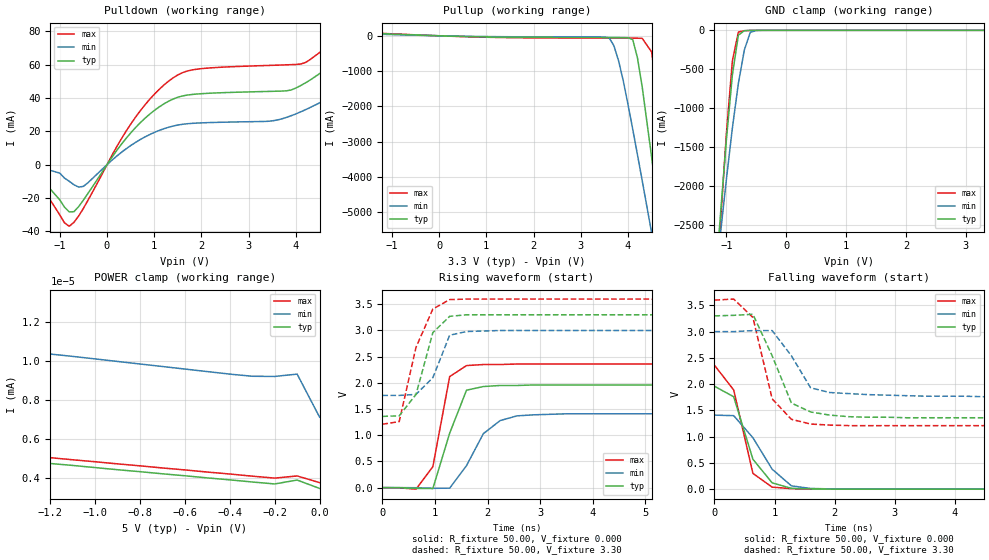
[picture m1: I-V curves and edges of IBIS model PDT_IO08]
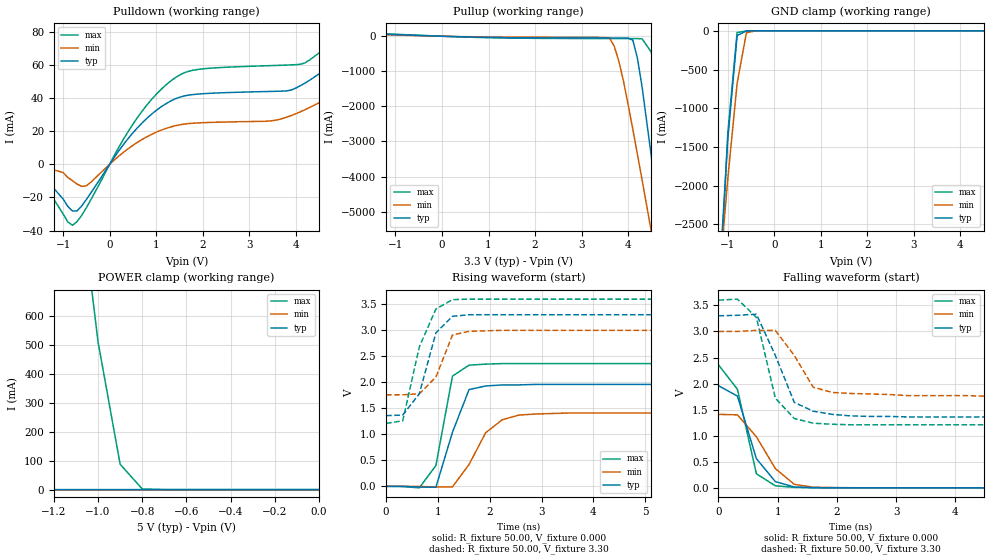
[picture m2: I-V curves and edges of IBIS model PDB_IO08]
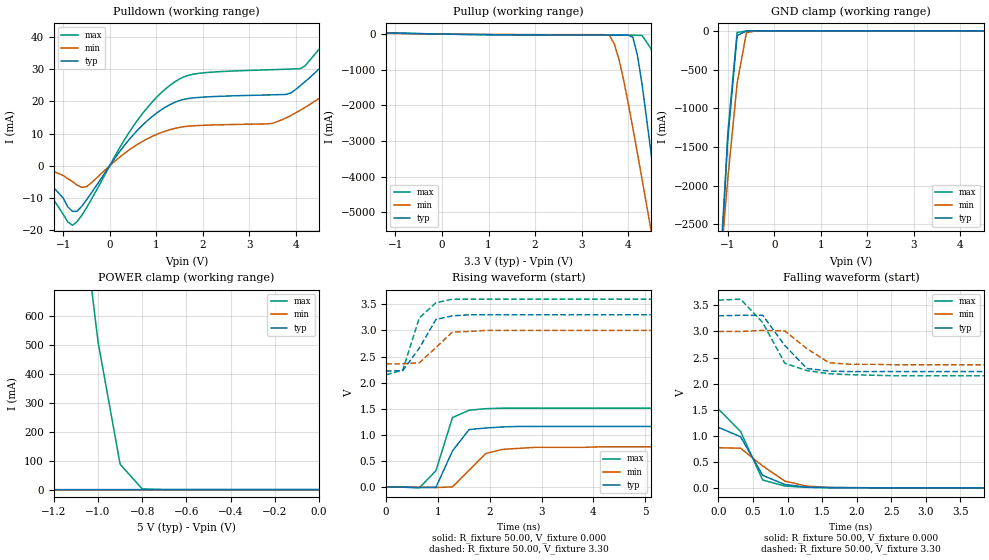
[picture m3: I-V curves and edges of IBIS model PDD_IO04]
|   PERICOM SEMICONDUCTOR CORP
|   IBIS Model of PI7C9X2G304SL
|   128-PIN LQFP Package
| Note: The PCIE Data Output Model is not available for simulation.
[IBIS ver] 3.2
[File name] pi7c9x2g304sl.ibs
[File Rev] 1.0
[Source] File originated at Pericom Semiconductor Corp.
[Date] 12/12/2013
[Disclaimer] (C) Copyright PERICOM Semiconductor Corporation
             All rights reserved
  Pericom Semiconductor Corporation hereby grants the user of
  this IBIS model a non-exclusive, nontransferable license
  use this IBIS model under the following terms.
  This IBIS model is provided on an "AS IS" basis and Pericom
  makes absolutely no warranty with respect to the information
  contained herein. PERICOM DISCLAIMS AND CUSTOMER WAIVES ALL
  WARRANTIES, EXPRESSED OR IMPLIED, INCLUDING WARRANTIES OF
  MERCHANTABILITY OR FITNESS FOR A PARTICULAR PURPOSE. The
  entire risk as to quality and performance is with the customer.
  Accordingly, in no event shall the company be liable for any
  damages, whether in contract or tort, including any lost
  profits or other incidental, consequential, exemplary, or
  punitive damages arising out of the use or application of the
  IBIS model provided in this package. Further, Pericom reserves
  the right to make changes without notice to any product herein
  to improve reliability, function, or design. Pericom does not
  convey any license under patent rights or any other intellectual
  property rights, including those of third parties.
  The user is granted this license only to use the IBIS model
  and is not granted rights to sell, load, rent, lease or license
  the IBIS model in whole or in part, or in modified form to anyone
  other than user. User may modify the IBIS model to suit its specific
  application but rights to derivative works and such modifications
  shall belong to Pericom.
  Pericom is not obligated to provide maintenance or support
  for the licensed IBIS model.
  Contact Pericom at ATTN: APPLICATIONS ENGINEERING / IBIS MODELS
  1545 Barber Lane, Milpitas, CA  95035
|   Component pi7c9x2g304sl
[Component] pi7c9x2g304sl
[Manufacturer] Pericom Semiconductor Corp.
[Package]
| variable   typ   min   max
R_pkg   0.2300   0.2100   0.2500
L_pkg   5.9200nH   4.9000nH   7.1000nH
C_pkg   2.4500pF   2.1000pF   2.9000pF
[Pin]  signal_name   model_name   R_pin   L_pin   C_pin
1   VDDR   POWER
2   VSS   GND
3   VDDC   POWER
4   VSS   GND
5   DWNRST_L[1]   PDU_IO04
6   DWNRST_L[2]   PDU_IO04
8   VDDR   POWER
9   TEST1   PDU_IO
10   PERST_L   PDI_IO
11   VSS   GND
12   VSS   GND
13   VDDCAUX   POWER
14   VDDCAUX   POWER
15   VAUX   POWER
16   TEST2   PDU_IO
17   TEST3   PDD_IO04
18   VC1_EN   PDD_IO04
19   PRSNT[1]   PDD_IO04
20   PRSNT[2]   PDD_IO04
22   TEST4   PDD_IO04
23   VDDC   POWER
24   RXPOLINV_DIS   PDD_IO04
25   TEST5   PDD_IO04
26   SMBCLK   PDU_IO04
27   SMBDATA   PDU_IO04
28   PWR_SAV   PDD_IO04
29   VDDC   POWER
30   VSS   GND
31   VDDC   POWER
32   VSS   GND
33   SLOTCLK   PDD_IO04
34   VSS   GND
35   GPIO[1]   PDB_IO08
36   GPIO[0]   PDB_IO08
37   GPIO[2]   PDB_IO08
38   GPIO[3]   PDB_IO08
39   GPIO[4]   PDB_IO08
40   VDDC   POWER
41   VSS   GND
42   GPIO[5]   PDB_IO08
43   GPIO[6]   PDB_IO08
44   GPIO[7]   PDB_IO08
45   SLOT_IMP[1]   PDD_IO04
46   SLOT_IMP[2]   PDD_IO04
49   VDDR   POWER
50   VSS   GND
51   TEST6   PDD_IO04
53   PL_512B   PDD_IO04
55   VDDC   POWER
56   VSS   GND
60   CLKBUF_PD   PDD_IO04
61   VSS   GND
62   VDDC   POWER
63   VSS   GND
64   VDDR   POWER
65   VDDC   POWER
66   VSS   GND
70   EECLK   PDT_IO08
71   EEPD   PDU_IO08
72   SCAN_EN   PDB_IO08
79   CVDDR   POWER
82   CVDDR   POWER
84   CVDDR   POWER
87   VSS   GND
88   TDO   PDT_IO08
89   TCK   PDI_IO
90   VSS   GND
91   VDDC   POWER
92   TMS   PDU_IO
93   TDI   PDU_IO
94   TRST_L   PDU_IO
95   VSS   GND
96   VDDR   POWER
99   AVDD   POWER
104   VSS   GND
105   AVDD   POWER
108   AVDD   POWER
109   VSS   GND
112   VSS   GND
113   AVDDH   POWER
119   AVDD   POWER
120   VSS   GND
125   AVDD   POWER
126   VSS   GND
| Models and submodels in the file (7): PDT_IO08 (3-state), PDB_IO08 (I/O), PDD_IO04 (I/O), PDU_IO04 (I/O), PDU_IO08 (I/O), PDI_IO (Input), PDU_IO (Input)
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|   Model PDT_IO08
[Model]   PDT_IO08
Model_type   3-state
Polarity   Non-Inverting
Enable   Active-Low
Vmeas =   1.65V
Cref =  50.00pF
Rref =   1.00M
Vref =  0.000V
C_comp   1.79pF   1.61pF   1.97pF
[Temperature Range]   25.00   0.12k   0.000
[Pullup Reference]   3.30V   3.00V   3.60V
[Pulldown Reference]   0.000V   0.000V   0.000V
[POWER Clamp Reference]   5.00V   4.50V   5.50V
[GND Clamp Reference]   0.000V   0.000V   0.000V
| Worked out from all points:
|   slope of the pulldown table from 0 to 0.495 V, typ, clamps not added: 26.3 ohm
|   slope of the pullup table from 0 to 0.495 V, typ, clamps not added: 26 ohm
|   GND clamp passes 1 mA (typ) near -0.60 V on its own axis
|   POWER clamp passes 1 mA (typ) near -3.01 V on its own axis
|   rising waveform, R_fixture 50.00, V_fixture 0.000: 20-80 % time 402ps typ, 548ps min, 263ps max; typ from 0 V to 1.96 V
|   rising waveform, R_fixture 50.00, V_fixture 3.30: 20-80 % time 332ps typ, 350ps min, 417ps max; typ from 1.36 V to 3.3 V
|   falling waveform, R_fixture 50.00, V_fixture 0.000: 20-80 % time 395ps typ, 532ps min, 285ps max; typ from 1.96 V to 0 V
|   falling waveform, R_fixture 50.00, V_fixture 3.30: 20-80 % time 432ps typ, 420ps min, 316ps max; typ from 3.3 V to 1.36 V
[Pulldown]
| voltage   I(typ)   I(min)   I(max)
-3.3V     0A         0A         0A
-1.7V     -2mA       -1mA       0A
-800mV    -28.27mA   -9.9mA     -36.86mA
-500mV    -21.24mA   -12.99mA   -26.21mA
600mV     22.1mA     13.29mA    28.31mA
1.5V      40.44mA    23.78mA    53.81mA
3.9V      44.8mA     29.37mA    59.97mA
4.3V      50.75mA    34.28mA    63mA
5.1V      68.29mA    46.18mA    82.64mA
5.7V      83.98mA    54.63mA    100mA
5.9V      89.44mA    33.98mA    110mA
6.6V      620mA      39.63mA    1.27A
[Pullup]
| voltage   I(typ)   I(min)   I(max)
-3.3V     140mA      75.04mA    160mA
3.6V      -50.2mA    -57.16mA   -66.25mA
3.7V      -50.36mA   -280mA     -66.45mA
3.8V      -50.59mA   -710mA     -66.64mA
4.1V      -110mA     -2.65A     -67.39mA
4.2V      -630mA     -3.37A     -68.89mA
4.3V      -1.45A     -4.1A      -72.53mA
4.5V      -3.44A     -5.58A     -460mA
4.7V      -5.53A     -7.07A     -2.55A
4.9V      -7.65A     -8.57A     -5.07A
5.1V      -9.78A     -10.07A    -7.65A
6.6V      -25.9A     -21.41A    -27.37A
[GND_clamp]
| voltage   I(typ)   I(min)   I(max)
-3.3V     -25.84A    -19.1A     -31.26A
-1.2V     -3.38A     -3.33A     -3.73A
-1.1V     -2.37A     -2.61A     -2.48A
-1V       -1.4A      -1.91A     -1.32A
-900mV    -570mA     -1.25A     -390mA
-800mV    -61.5mA    -680mA     -21.81mA
-700mV    -4.92mA    -250mA     -5mA
-600mV    -860uA     -24.57mA   -1.54mA
-500mV    -98.1uA    -2.38mA    -220uA
3.3V      3.47nA     9.23nA     3.45nA
[POWER_clamp]
| voltage   I(typ)   I(min)   I(max)
-3.3V     510mA      330nA      3.28A
-3.1V     7.68mA     14.23nA    1.82A
-2.8V     95.66nA    12.61nA    87.31mA
-2.7V     8.35nA     12.44nA    2.31mA
-2.6V     6.31nA     12.28nA    36.57uA
-2.4V     6.03nA     11.98nA    14.99nA
-2.3V     5.92nA     11.83nA    6.35nA
-2.2V     5.81nA     11.69nA    6.11nA
-400mV    3.91nA     9.34nA     4.21nA
-200mV    3.7nA      9.22nA     4nA
-100mV    3.9nA      9.34nA     4.11nA
0V        3.47nA     7.13nA     3.77nA
[Ramp]
| variable   typ   min   max
dV/dt_r   1.18/0.29n   0.85/0.45n   1.42/0.24n
dV/dt_f   1.17/0.30n   0.74/0.38n   1.44/0.28n
R_load = 50.00
[Rising Waveform]
R_fixture = 50.00
V_fixture = 0.000
V_fixture_min = 0.000
V_fixture_max = 0.000
L_fixture = 0.000H
C_fixture = 0.000F
| time   V(typ)   V(min)   V(max)
0s        0V         0V         0V
640ps     -14.96mV   -2.25mV    -29.63mV
960ps     -17.46mV   -13.49mV   400mV
1.28ns    1.04V      -10.44mV   2.12V
1.6ns     1.86V      420mV      2.33V
1.92ns    1.93V      1.03V      2.35V
2.24ns    1.95V      1.28V      2.35V
2.56ns    1.95V      1.37V      2.36V
3.52ns    1.96V      1.41V      2.36V
16ns      1.96V      1.41V      2.36V
[Rising Waveform]
R_fixture = 50.00
V_fixture = 3.30
V_fixture_min = 3.00
V_fixture_max = 3.60
L_fixture = 0.000H
C_fixture = 0.000F
| time   V(typ)   V(min)   V(max)
0s        1.36V      1.76V      1.21V
320ps     1.37V      1.76V      1.26V
640ps     1.78V      1.78V      2.68V
960ps     2.96V      2.1V       3.41V
1.28ns    3.27V      2.91V      3.59V
1.6ns     3.3V       2.98V      3.6V
2.24ns    3.3V       3V         3.6V
16ns      3.3V       3V         3.6V
[Falling Waveform]
R_fixture = 50.00
V_fixture = 0.000
V_fixture_min = 0.000
V_fixture_max = 0.000
L_fixture = 0.000H
C_fixture = 0.000F
| time   V(typ)   V(min)   V(max)
0s        1.96V      1.41V      2.36V
320ps     1.76V      1.4V       1.89V
640ps     570mV      980mV      300mV
960ps     120mV      380mV      38.55mV
1.28ns    16.08mV    63.18mV    9.34mV
1.6ns     5.18mV     13.02mV    2.66mV
3.2ns     49.92uV    410uV      -22.14uV
16ns      0V         17.7uV     -18.94uV
[Falling Waveform]
R_fixture = 50.00
V_fixture = 3.30
V_fixture_min = 3.00
V_fixture_max = 3.60
L_fixture = 0.000H
C_fixture = 0.000F
| time   V(typ)   V(min)   V(max)
0s        3.3V       3V         3.6V
320ps     3.31V      3V         3.62V
640ps     3.33V      3.02V      3.27V
960ps     2.54V      3.02V      1.72V
1.28ns    1.64V      2.54V      1.33V
1.6ns     1.47V      1.93V      1.24V
1.92ns    1.41V      1.84V      1.22V
2.24ns    1.38V      1.82V      1.21V
3.52ns    1.36V      1.77V      1.21V
16ns      1.36V      1.76V      1.21V
|   Model PDB_IO08
[Model]   PDB_IO08
Model_type   I/O
Polarity   Non-Inverting
Enable   Active-Low
Vinl =   0.80V
Vinh =   2.00V
Vmeas =   1.65V
Cref =  50.00pF
Rref =   1.00M
Vref =  0.000V
C_comp   1.79pF   1.61pF   1.97pF
[Temperature Range]   25.00   0.12k   0.000
[Pullup Reference]   3.30V   3.00V   3.60V
[Pulldown Reference]   0.000V   0.000V   0.000V
[POWER Clamp Reference]   5.00V   4.50V   5.50V
[GND Clamp Reference]   0.000V   0.000V   0.000V
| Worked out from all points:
|   slope of the pulldown table from 0 to 0.495 V, typ, clamps not added: 26.3 ohm
|   slope of the pullup table from 0 to 0.495 V, typ, clamps not added: 26 ohm
|   GND clamp passes 1 mA (typ) near -0.60 V on its own axis
|   POWER clamp passes 1 mA (typ) near -1.31 V on its own axis
|   rising waveform, R_fixture 50.00, V_fixture 0.000: 20-80 % time 402ps typ, 548ps min, 263ps max; typ from 0 V to 1.96 V
|   rising waveform, R_fixture 50.00, V_fixture 3.30: 20-80 % time 335ps typ, 350ps min, 417ps max; typ from 1.36 V to 3.3 V
|   falling waveform, R_fixture 50.00, V_fixture 0.000: 20-80 % time 391ps typ, 526ps min, 280ps max; typ from 1.96 V to 0 V
|   falling waveform, R_fixture 50.00, V_fixture 3.30: 20-80 % time 432ps typ, 420ps min, 316ps max; typ from 3.3 V to 1.36 V
[Pulldown]
| voltage   I(typ)   I(min)   I(max)
-3.3V     0A         0A         0A
-1.7V     -2mA       -1mA       0A
-800mV    -28.27mA   -9.9mA     -36.86mA
-500mV    -21.24mA   -12.99mA   -26.21mA
600mV     22.1mA     13.29mA    28.31mA
1.5V      40.44mA    23.78mA    53.81mA
3.9V      44.8mA     29.37mA    59.97mA
4.3V      50.75mA    34.28mA    63mA
5.1V      68.29mA    46.18mA    82.64mA
5.7V      83.98mA    54.63mA    100mA
5.9V      89.44mA    33.98mA    110mA
6.6V      620mA      39.63mA    1.27A
[Pullup]
| voltage   I(typ)   I(min)   I(max)
-3.3V     140mA      75.04mA    160mA
3.6V      -50.2mA    -57.16mA   -66.25mA
3.7V      -50.36mA   -280mA     -66.45mA
3.8V      -50.59mA   -710mA     -66.64mA
4.1V      -110mA     -2.65A     -67.39mA
4.2V      -630mA     -3.37A     -68.89mA
4.3V      -1.45A     -4.1A      -72.53mA
4.5V      -3.44A     -5.58A     -460mA
4.7V      -5.53A     -7.07A     -2.55A
4.9V      -7.65A     -8.57A     -5.07A
5.1V      -9.78A     -10.07A    -7.65A
6.6V      -25.9A     -21.41A    -27.37A
[GND_clamp]
| voltage   I(typ)   I(min)   I(max)
-5V       -44.03A    -32.02A    -53.7A
-1.2V     -3.38A     -3.33A     -3.73A
-1V       -1.4A      -1.91A     -1.32A
-800mV    -61.5mA    -680mA     -21.81mA
-600mV    -860uA     -24.57mA   -1.54mA
-400mV    -6.99uA    -160uA     -13.84uA
5V        5.41nA     9.31nA     5.24nA
[POWER_clamp]
| voltage   I(typ)   I(min)   I(max)
-3.3V     6.83A      4.83uA     17.26A
-1.7V     880mA      31.77nA    5.49A
-1.6V     510mA      14.23nA    4.75A
-1.5V     140mA      13.02nA    4.01A
-1.4V     7.68mA     12.79nA    3.28A
-1.3V     180uA      12.61nA    2.54A
-1.1V     95.66nA    12.28nA    1.14A
-1V       8.35nA     12.13nA    510mA
-900mV    6.31nA     11.98nA    87.31mA
-800mV    6.15nA     11.83nA    2.31mA
0V        5.28nA     10.76nA    5.79nA
[Ramp]
| variable   typ   min   max
dV/dt_r   1.18/0.29n   0.85/0.45n   1.42/0.24n
dV/dt_f   1.17/0.30n   0.74/0.38n   1.44/0.28n
R_load = 50.00
[Rising Waveform]
R_fixture = 50.00
V_fixture = 0.000
V_fixture_min = 0.000
V_fixture_max = 0.000
L_fixture = 0.000H
C_fixture = 0.000F
| time   V(typ)   V(min)   V(max)
0s        0V         0V         0V
640ps     -14.94mV   -2.25mV    -29.57mV
960ps     -17.42mV   -13.47mV   400mV
1.28ns    1.04V      -10.42mV   2.12V
1.6ns     1.86V      420mV      2.33V
1.92ns    1.93V      1.03V      2.35V
2.24ns    1.95V      1.28V      2.36V
2.56ns    1.95V      1.37V      2.36V
3.52ns    1.96V      1.41V      2.36V
16ns      1.96V      1.41V      2.36V
[Rising Waveform]
R_fixture = 50.00
V_fixture = 3.30
V_fixture_min = 3.00
V_fixture_max = 3.60
L_fixture = 0.000H
C_fixture = 0.000F
| time   V(typ)   V(min)   V(max)
0s        1.36V      1.76V      1.21V
320ps     1.37V      1.76V      1.26V
640ps     1.78V      1.78V      2.68V
960ps     2.95V      2.1V       3.41V
1.28ns    3.27V      2.91V      3.59V
1.6ns     3.3V       2.98V      3.6V
2.24ns    3.3V       3V         3.6V
16ns      3.3V       3V         3.6V
[Falling Waveform]
R_fixture = 50.00
V_fixture = 0.000
V_fixture_min = 0.000
V_fixture_max = 0.000
L_fixture = 0.000H
C_fixture = 0.000F
| time   V(typ)   V(min)   V(max)
0s        1.96V      1.41V      2.36V
320ps     1.76V      1.4V       1.89V
640ps     560mV      980mV      270mV
960ps     120mV      370mV      39.25mV
1.28ns    16.27mV    67.39mV    9.01mV
1.6ns     5.1mV      11.59mV    2.21mV
3.2ns     54.8uV     360uV      1.08uV
16ns      0V         130nV      0V
[Falling Waveform]
R_fixture = 50.00
V_fixture = 3.30
V_fixture_min = 3.00
V_fixture_max = 3.60
L_fixture = 0.000H
C_fixture = 0.000F
| time   V(typ)   V(min)   V(max)
0s        3.3V       3V         3.6V
320ps     3.31V      3V         3.62V
640ps     3.33V      3.02V      3.27V
960ps     2.54V      3.02V      1.72V
1.28ns    1.64V      2.54V      1.33V
1.6ns     1.47V      1.93V      1.24V
1.92ns    1.41V      1.83V      1.22V
2.24ns    1.38V      1.81V      1.21V
3.2ns     1.36V      1.77V      1.21V
16ns      1.36V      1.76V      1.21V
|   Model PDD_IO04
[Model]   PDD_IO04
Model_type   I/O
Polarity   Non-Inverting
Enable   Active-Low
Vinl =   0.80V
Vinh =   2.00V
Vmeas =   1.65V
Cref =  50.00pF
Rref =   1.00M
Vref =  0.000V
C_comp   1.79pF   1.61pF   1.96pF
[Temperature Range]   25.00   0.12k   0.000
[Pullup Reference]   3.30V   3.00V   3.60V
[Pulldown Reference]   0.000V   0.000V   0.000V
[POWER Clamp Reference]   5.00V   4.50V   5.50V
[GND Clamp Reference]   0.000V   0.000V   0.000V
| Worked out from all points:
|   slope of the pulldown table from 0 to 0.495 V, typ, clamps not added: 52.6 ohm
|   slope of the pullup table from 0 to 0.495 V, typ, clamps not added: 52 ohm
|   GND clamp passes 1 mA (typ) near -0.60 V on its own axis
|   POWER clamp passes 1 mA (typ) near -1.31 V on its own axis
|   rising waveform, R_fixture 50.00, V_fixture 0.000: 20-80 % time 396ps typ, 462ps min, 290ps max; typ from 0 V to 1.16 V
|   rising waveform, R_fixture 50.00, V_fixture 3.30: 20-80 % time 413ps typ, 416ps min, 333ps max; typ from 2.22 V to 3.3 V
|   falling waveform, R_fixture 50.00, V_fixture 0.000: 20-80 % time 312ps typ, 478ps min, 363ps max; typ from 1.16 V to 0 V
|   falling waveform, R_fixture 50.00, V_fixture 3.30: 20-80 % time 409ps typ, 406ps min, 399ps max; typ from 3.3 V to 2.22 V
[Pulldown]
| voltage   I(typ)   I(min)   I(max)
-3.3V     0A         0A         0A
-1.7V     -1mA       0A         0A
-800mV    -14.13mA   -4.9mA     -18.43mA
-500mV    -10.62mA   -6.49mA    -13.1mA
600mV     11.05mA    6.64mA     14.15mA
1.5V      20.22mA    11.89mA    26.91mA
3.9V      22.63mA    15.64mA    29.99mA
4.9V      35.84mA    24.81mA    42.97mA
5.3V      42.23mA    28.77mA    50.58mA
5.7V      48.89mA    32.21mA    58.75mA
5.9V      52.26mA    18.34mA    63.01mA
6.6V      570mA      21.74mA    1.21A
[Pullup]
| voltage   I(typ)   I(min)   I(max)
-3.3V     78mA       40.87mA    94mA
3.6V      -25.11mA   -40.86mA   -33.12mA
3.7V      -25.19mA   -270mA     -33.23mA
3.8V      -25.36mA   -700mA     -33.33mA
4.1V      -86.95mA   -2.63A     -33.82mA
4.2V      -600mA     -3.35A     -35.24mA
4.3V      -1.42A     -4.08A     -38.79mA
4.5V      -3.41A     -5.56A     -430mA
4.7V      -5.5A      -7.05A     -2.52A
4.9V      -7.62A     -8.55A     -5.03A
5.1V      -9.76A     -10.05A    -7.62A
6.6V      -25.87A    -21.39A    -27.33A
[GND_clamp]
| voltage   I(typ)   I(min)   I(max)
-5V       -44.03A    -32.02A    -53.7A
-1.2V     -3.38A     -3.33A     -3.73A
-1V       -1.4A      -1.91A     -1.32A
-800mV    -61.51mA   -680mA     -21.83mA
-600mV    -880uA     -24.57mA   -1.56mA
-400mV    -19.76uA   -170uA     -30.02uA
5V        36.64uA    110uA      53.67uA
[POWER_clamp]
| voltage   I(typ)   I(min)   I(max)
-3.3V     6.83A      31.49uA    17.26A
-1.7V     880mA      21.57uA    5.49A
-1.6V     510mA      21.26uA    4.75A
-1.5V     140mA      20.99uA    4.01A
-1.4V     7.72mA     20.74uA    3.28A
-1.3V     220uA      20.52uA    2.54A
-1.1V     39.57uA    20.14uA    1.14A
-1V       39.08uA    19.98uA    510mA
-900mV    38.72uA    19.84uA    87.36mA
-800mV    38.4uA     19.71uA    2.37mA
0V        36.93uA    19.19uA    54.45uA
[Ramp]
| variable   typ   min   max
dV/dt_r   0.70/0.31n   0.46/0.39n   0.91/0.26n
dV/dt_f   0.64/0.26n   0.38/0.28n   0.87/0.24n
R_load = 50.00
[Rising Waveform]
R_fixture = 50.00
V_fixture = 0.000
V_fixture_min = 0.000
V_fixture_max = 0.000
L_fixture = 0.000H
C_fixture = 0.000F
| time   V(typ)   V(min)   V(max)
0s        0V         0V         0V
640ps     -11.94mV   -1.87mV    -17.07mV
960ps     -8.4mV     -10.7mV    310mV
1.28ns    690mV      780uV      1.33V
1.6ns     1.1V       320mV      1.47V
1.92ns    1.13V      640mV      1.5V
2.24ns    1.15V      720mV      1.51V
2.88ns    1.16V      760mV      1.51V
4.16ns    1.16V      770mV      1.51V
16ns      1.16V      770mV      1.51V
[Rising Waveform]
R_fixture = 50.00
V_fixture = 3.30
V_fixture_min = 3.00
V_fixture_max = 3.60
L_fixture = 0.000H
C_fixture = 0.000F
| time   V(typ)   V(min)   V(max)
0s        2.22V      2.36V      2.15V
320ps     2.23V      2.36V      2.24V
640ps     2.66V      2.38V      3.24V
960ps     3.21V      2.67V      3.53V
1.28ns    3.28V      2.97V      3.6V
1.6ns     3.3V       2.98V      3.6V
1.92ns    3.3V       3V         3.6V
16ns      3.3V       3V         3.6V
[Falling Waveform]
R_fixture = 50.00
V_fixture = 0.000
V_fixture_min = 0.000
V_fixture_max = 0.000
L_fixture = 0.000H
C_fixture = 0.000F
| time   V(typ)   V(min)   V(max)
0s        1.16V      770mV      1.51V
320ps     980mV      760mV      1.08V
640ps     240mV      420mV      150mV
960ps     63.57mV    130mV      34.21mV
1.28ns    12.84mV    32.61mV    9.1mV
1.6ns     4.88mV     7.48mV     2.99mV
1.92ns    2.71mV     4.24mV     1.46mV
16ns      350nV      16.97uV    1.28uV
[Falling Waveform]
R_fixture = 50.00
V_fixture = 3.30
V_fixture_min = 3.00
V_fixture_max = 3.60
L_fixture = 0.000H
C_fixture = 0.000F
| time   V(typ)   V(min)   V(max)
0s        3.3V       3V         3.6V
320ps     3.31V      3V         3.62V
640ps     3.31V      3.02V      3.17V
960ps     2.73V      3.01V      2.39V
1.28ns    2.29V      2.67V      2.25V
1.6ns     2.24V      2.4V       2.19V
1.92ns    2.23V      2.37V      2.17V
2.56ns    2.23V      2.36V      2.15V
5.12ns    2.22V      2.36V      2.15V
16ns      2.22V      2.36V      2.15V
